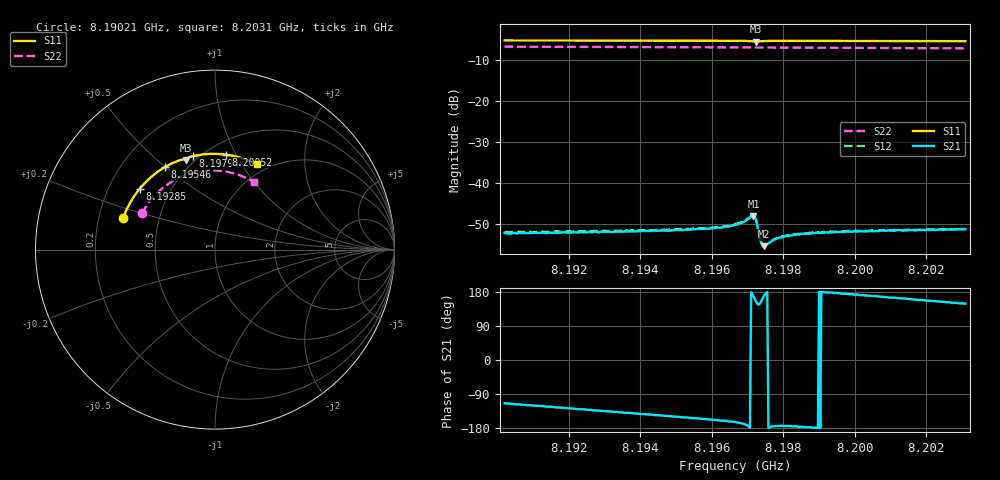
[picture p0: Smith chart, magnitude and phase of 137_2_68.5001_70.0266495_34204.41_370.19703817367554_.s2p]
#  HZ  S  RI  R  50.00
! Rohde & Schwarz Vector Network Analyzer
! Rohde-Schwarz,ZNB20-2Port,1311601062101988,3.16
! Created: UTC 3/20/2024, 4:54:43 PM
! freq[Hz]  re:S11  im:S11  re:S21  im:S21  re:S12  im:S12  re:S22  im:S22
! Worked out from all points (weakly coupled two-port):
!   401 points, 8.19021 GHz to 8.2031 GHz, reference 50 ohm
!   highest |S21| = -48.14 dB at 8.19717 GHz (marker M1); lowest = -55.5 dB at 8.19746 GHz (marker M2)
!   lowest |S11| = -5.6 dB at 8.19723 GHz (marker M3), VSWR 3.19, Z = 22.7 + j31.1 ohm
!   |S11| at or under -10 dB: nowhere
!   |S22| runs from -7.3 to -6.9 dB; largest |S21 - S12| = 0.00024
!   S11 on the Smith chart (normalised r, x): 8.19021 GHz: 0.31, +0.15; 8.19285 GHz: 0.33, +0.32; 8.19546 GHz: 0.38, +0.50; 8.19794 GHz: 0.47, +0.68; 8.20052 GHz: 0.62, +0.91; 8.2031 GHz: 0.89, +1.17
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8.190206e9  -0.5105 0.1784  -0.000999 -0.00222  -0.00108 -0.00224  -0.4071 0.2016
8.192366e9  -0.4402 0.3123  -0.00159 -0.00191  -0.0017 -0.00191  -0.3382 0.2993
8.19285e9  -0.4194 0.3394  -0.00171 -0.00179  -0.00182 -0.00178  -0.3194 0.3185
8.194526e9  -0.3349 0.4214  -0.00214 -0.00146  -0.00228 -0.00144  -0.2456 0.3754
8.195461e9  -0.2805 0.4587  -0.00242 -0.00121  -0.00249 -0.00117  -0.1998 0.4003
8.196331e9  -0.225 0.4871  -0.0027 -0.000975  -0.00279 -0.000895  -0.1543 0.4183
8.196653e9  -0.2031 0.4959  -0.00293 -0.000847  -0.00301 -0.000765  -0.1371 0.4237
8.196879e9  -0.1866 0.501  -0.00321 -0.000693  -0.00331 -0.000568  -0.1248 0.427
8.197105e9  -0.1678 0.5022  -0.00383 8.14e-05  -0.00393 0.000234  -0.1125 0.43
8.197169e9  -0.1633 0.4996  -0.00384 0.000784  -0.00387 0.000943  -0.109 0.4307
8.197234e9  -0.1625 0.4965  -0.00326 0.0015  -0.00325 0.00165  -0.1056 0.4313
8.197362e9  -0.1634 0.5022  -0.00172 0.000973  -0.00171 0.00104  -0.0987 0.433
8.197395e9  -0.1619 0.5045  -0.00164 0.000719  -0.00165 0.000824  -0.0968 0.4334
8.197459e9  -0.1575 0.5082  -0.00165 0.000323  -0.00165 0.000411  -0.0934 0.4342
8.197524e9  -0.1529 0.511  -0.0017 9.5e-05  -0.00176 0.000164  -0.0898 0.4347
8.197782e9  -0.1336 0.518  -0.00204 -0.000202  -0.00208 -0.000143  -0.0754 0.4369
8.197943e9  -0.122 0.5209  -0.00214 -0.00024  -0.0022 -0.000143  -0.0663 0.4382
8.198362e9  -0.092 0.527  -0.0023 -0.000192  -0.00235 -9.14e-05  -0.0427 0.4404
8.198813e9  -0.0599 0.5312  -0.0024 -5.63e-05  -0.00247 2.09e-05  -0.0172 0.4414
8.200521e9  0.0608 0.5292  -0.00252 0.00051  -0.00257 0.000599  0.079 0.4313
8.200973e9  0.0925 0.5241  -0.00251 0.000696  -0.00251 0.000797  0.1039 0.4252
8.2031e9  0.234 0.4747  -0.00231 0.0014  -0.00224 0.00151  0.2149 0.3763
